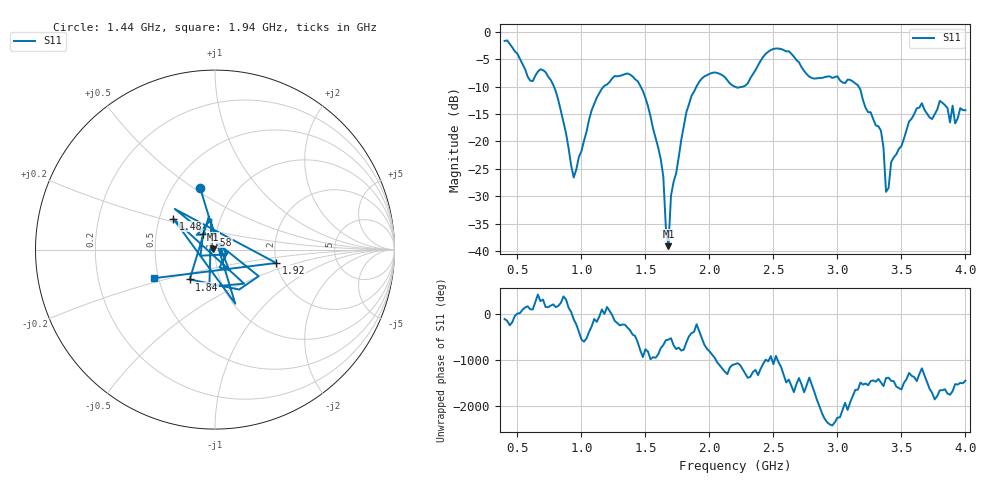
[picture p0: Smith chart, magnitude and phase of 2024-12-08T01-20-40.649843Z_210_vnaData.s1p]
!Created with skrf (http://scikit-rf.org).
# Hz S RI R 50.0
!freq ReS11 ImS11
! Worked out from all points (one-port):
!   181 points, 400 MHz to 4 GHz, reference 50 ohm
!   lowest |S11| = -39.1 dB at 1.68 GHz (marker M1), VSWR 1.02, Z = 49 + j0.372 ohm
!   |S11| at or under -10 dB: 785.6 MHz to 1.174 GHz (388.2 MHz wide, 39.6 % of centre); 1.463 GHz to 1.899 GHz (435.2 MHz wide, 25.9 % of centre); 3.166 GHz to end of sweep (the widest 3 of 4)
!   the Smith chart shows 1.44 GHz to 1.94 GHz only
!   S11 on the Smith chart (normalised r, x): 1.44 GHz: 0.68, +0.53; 1.48 GHz: 0.59, +0.22; 1.58 GHz: 0.86, +0.15; 1.84 GHz: 0.72, -0.25; 1.92 GHz: 2.00, -0.34; 1.94 GHz: 0.47, -0.18
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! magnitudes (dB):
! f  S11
! 400 MHz  -1.6
! 600 MHz  -8.9
! 720 MHz  -7.3
! 860 MHz  -16.5
! 940 MHz  -26.6
! 1.12 GHz  -12.0
! 1.3 GHz  -8.0
! 1.44 GHz  -9.0
! 1.48 GHz  -10.8
! 1.58 GHz  -19.4
! 1.64 GHz  -26.5
! 1.66 GHz  -35.8
! 1.68 GHz  -39.1
! 1.7 GHz  -29.9
! 1.76 GHz  -22.9
! 1.84 GHz  -13.2
! 1.92 GHz  -9.1
! 1.94 GHz  -8.5
! 2.2 GHz  -10.0
! 2.48 GHz  -3.3
! 2.66 GHz  -4.5
! 3.1 GHz  -8.8
! 3.34 GHz  -18.0
! 3.38 GHz  -29.2
! 3.56 GHz  -16.4
! 3.66 GHz  -13.0
! 3.92 GHz  -16.7
! 4 GHz  -14.3
